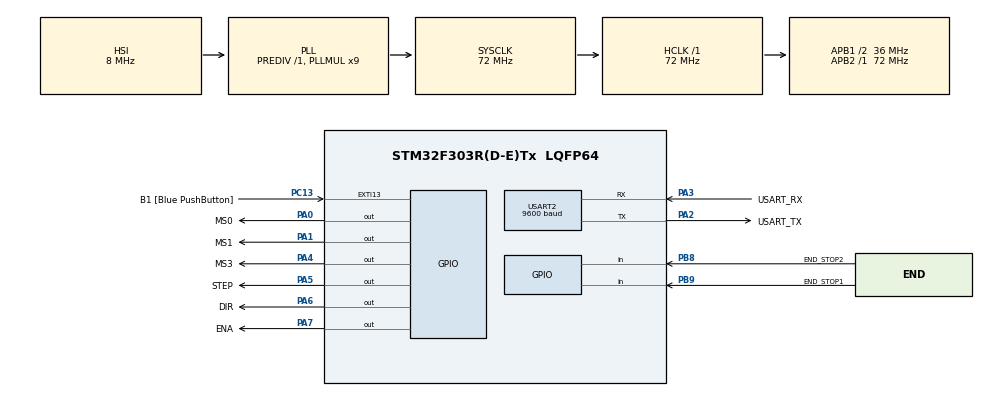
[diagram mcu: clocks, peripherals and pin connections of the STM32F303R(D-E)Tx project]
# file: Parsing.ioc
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Mcu.Family=STM32F3
Mcu.Name=STM32F303R(D-E)Tx
Mcu.Package=LQFP64
NVIC.PriorityGroup=NVIC_PRIORITYGROUP_0
NVIC.USART2_IRQn=true\:0\:0\:false\:false\:true\:true
PA0.GPIO_Label=MS0
PA0.Signal=GPIO_Output
PA1.GPIO_Label=MS1
PA1.Signal=GPIO_Output
PA13.GPIO_Label=TMS
PA13.Mode=Serial_Wire
PA13.Signal=SYS_JTMS-SWDIO
PA14.GPIO_Label=TCK
PA14.Mode=Serial_Wire
PA14.Signal=SYS_JTCK-SWCLK
PA2.GPIO_Label=USART_TX
PA2.GPIO_Mode=GPIO_MODE_AF_PP
PA2.GPIO_PuPd=GPIO_NOPULL
PA2.GPIO_Speed=GPIO_SPEED_FREQ_LOW
PA2.Mode=Asynchronous
PA2.Signal=USART2_TX
PA3.GPIO_Label=USART_RX
PA3.GPIO_Mode=GPIO_MODE_AF_PP
PA3.GPIO_PuPd=GPIO_NOPULL
PA3.GPIO_Speed=GPIO_SPEED_FREQ_LOW
PA3.Mode=Asynchronous
PA3.Signal=USART2_RX
PA4.GPIO_Label=MS3
PA4.Signal=GPIO_Output
PA5.GPIO_Label=STEP
PA5.GPIO_Mode=GPIO_MODE_OUTPUT_PP
PA5.GPIO_PuPd=GPIO_NOPULL
PA5.GPIO_Speed=GPIO_SPEED_FREQ_LOW
PA5.Signal=GPIO_Output
PA6.GPIO_Label=DIR
PA6.Signal=GPIO_Output
PA7.GPIO_Label=ENA
PA7.Signal=GPIO_Output
PB3.GPIO_Label=SWO
PB3.Signal=SYS_JTDO-TRACESWO
PB8.GPIO_Label=END_STOP2
PB8.Signal=GPIO_Input
PB9.GPIO_Label=END_STOP1
PB9.Signal=GPIO_Input
PC13.GPIO_Label=B1 [Blue PushButton]
PC13.GPIO_ModeDefaultEXTI=GPIO_MODE_IT_FALLING
PC13.Signal=GPXTI13
PC14-OSC32_IN.Mode=LSE-External-Oscillator
PC14-OSC32_IN.Signal=RCC_OSC32_IN
PC15-OSC32_OUT.Mode=LSE-External-Oscillator
PC15-OSC32_OUT.Signal=RCC_OSC32_OUT
PF0-OSC_IN.Mode=HSE-External-Clock-Source
PF0-OSC_IN.Signal=RCC_OSC_IN
PF1-OSC_OUT.Signal=RCC_OSC_OUT
ProjectManager.HeapSize=0x200
ProjectManager.StackSize=0x400
ProjectManager.TargetToolchain=MDK-ARM V5
RCC.AHBFreq_Value=72000000
RCC.APB1CLKDivider=RCC_HCLK_DIV2
RCC.APB1Freq_Value=36000000
RCC.APB1TimFreq_Value=72000000
RCC.APB2Freq_Value=72000000
RCC.APB2TimFreq_Value=72000000
RCC.CortexFreq_Value=72000000
RCC.HCLKFreq_Value=72000000
RCC.HSE_VALUE=8000000
RCC.HSI_VALUE=8000000
RCC.PLLM=8
RCC.PLLMUL=RCC_PLL_MUL9
RCC.PLLN=336
RCC.PLLP=RCC_PLLP_DIV4
RCC.PLLQ=7
RCC.RCC_PLLsource_Clock_Source_FROM_HSE=RCC_HSE_PREDIV_DIV2
RCC.SYSCLKFreq_VALUE=72000000
RCC.SYSCLKSourceVirtual=RCC_SYSCLKSOURCE_PLLCLK
RCC.USBFreq_Value=72000000
USART2.BaudRate=9600
USART2.VirtualMode-Asynchronous=VM_ASYNC
USART2.WordLength=WORDLENGTH_8B
board=NUCLEO-F303RE

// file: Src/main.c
/**
  ******************************************************************************
  * @file           : main.c
  * @brief          : Main program body
  ******************************************************************************
  ** This notice applies to any and all portions of this file
  * that are not between comment pairs USER CODE BEGIN and
  * USER CODE END. Other portions of this file, whether
  * inserted by the user or by software development tools
  * are owned by their respective copyright owners.
  *
  * COPYRIGHT(c) 2018 STMicroelectronics
  *
  * Redistribution and use in source and binary forms, with or without modification,
  * are permitted provided that the following conditions are met:
  *   1. Redistributions of source code must retain the above copyright notice,
  *      this list of conditions and the following disclaimer.
  *   2. Redistributions in binary form must reproduce the above copyright notice,
  *      this list of conditions and the following disclaimer in the documentation
  *      and/or other materials provided with the distribution.
  *   3. Neither the name of STMicroelectronics nor the names of its contributors
  *      may be used to endorse or promote products derived from this software
  *      without specific prior written permission.
  *
  * THIS SOFTWARE IS PROVIDED BY THE COPYRIGHT HOLDERS AND CONTRIBUTORS "AS IS"
  * AND ANY EXPRESS OR IMPLIED WARRANTIES, INCLUDING, BUT NOT LIMITED TO, THE
  * IMPLIED WARRANTIES OF MERCHANTABILITY AND FITNESS FOR A PARTICULAR PURPOSE ARE
  * DISCLAIMED. IN NO EVENT SHALL THE COPYRIGHT HOLDER OR CONTRIBUTORS BE LIABLE
  * FOR ANY DIRECT, INDIRECT, INCIDENTAL, SPECIAL, EXEMPLARY, OR CONSEQUENTIAL
  * DAMAGES (INCLUDING, BUT NOT LIMITED TO, PROCUREMENT OF SUBSTITUTE GOODS OR
  * SERVICES; LOSS OF USE, DATA, OR PROFITS; OR BUSINESS INTERRUPTION) HOWEVER
  * CAUSED AND ON ANY THEORY OF LIABILITY, WHETHER IN CONTRACT, STRICT LIABILITY,
  * OR TORT (INCLUDING NEGLIGENCE OR OTHERWISE) ARISING IN ANY WAY OUT OF THE USE
  * OF THIS SOFTWARE, EVEN IF ADVISED OF THE POSSIBILITY OF SUCH DAMAGE.
  *
  ******************************************************************************
  */
#include "main.h"
#include "stm32f3xx_hal.h"

/* USER CODE BEGIN Includes */
#include <stdbool.h>
#include <stdlib.h>
/* USER CODE END Includes */

UART_HandleTypeDef huart2;

/* USER CODE BEGIN PV */
/* Private variables ---------------------------------------------------------*/
uint8_t txBuffer[]="Buffer TEST\n\r";
uint8_t txBuffer2[]="\r\nCommand not recognized\r\n";
uint8_t rxBuffer[12];
char  aBuffer[12];
bool rx_flag=false;
bool calibration_flag=false;
const uint16_t thousandth_of_nanometer=32;
uint16_t nanometer=32000;
uint16_t tenth_of_nanometer=3200;
uint16_t hundredth_of_nanometer=320;
uint16_t MAX_WVL=999;
uint16_t MIN_WVL=100;
uint32_t current_position;
/* USER CODE END PV */

void SystemClock_Config(void);
static void MX_GPIO_Init(void);
static void MX_USART2_UART_Init(void);

/* USER CODE BEGIN PFP */
/* Private function prototypes -----------------------------------------------*/
char *ltoa(long N, char *str, int base);
void step(void);
bool buffer_analyze(bool flag,char buffer[10]);

/* USER CODE END PFP */

int main(void)
{

  /* MCU Configuration----------------------------------------------------------*/

  /* Reset of all peripherals, Initializes the Flash interface and the Systick. */
  HAL_Init();

  /* Configure the system clock */
  SystemClock_Config();

  /* Initialize all configured peripherals */
  MX_GPIO_Init();
  MX_USART2_UART_Init();
  /* USER CODE BEGIN 2 */
	HAL_UART_Transmit_IT(&huart2,(uint8_t *)txBuffer,sizeof(txBuffer));
	uint32_t testnum=999999;
	uint32_t testnum2;
  /* USER CODE END 2 */

  /* Infinite loop */
  while (1)
  {

  /* USER CODE BEGIN 3 */
		step();
    HAL_UART_Receive_IT(&huart2,rxBuffer,12);
		rx_flag=buffer_analyze(rx_flag,aBuffer);

  }
  /* USER CODE END 3 */

}

void SystemClock_Config(void)
{

  RCC_OscInitTypeDef RCC_OscInitStruct;
  RCC_ClkInitTypeDef RCC_ClkInitStruct;
  RCC_PeriphCLKInitTypeDef PeriphClkInit;

    /**Initializes the CPU, AHB and APB busses clocks
    */
  RCC_OscInitStruct.OscillatorType = RCC_OSCILLATORTYPE_HSI;
  RCC_OscInitStruct.HSIState = RCC_HSI_ON;
  RCC_OscInitStruct.HSICalibrationValue = 16;
  RCC_OscInitStruct.PLL.PLLState = RCC_PLL_ON;
  RCC_OscInitStruct.PLL.PLLSource = RCC_PLLSOURCE_HSI;
  RCC_OscInitStruct.PLL.PLLMUL = RCC_PLL_MUL9;
  RCC_OscInitStruct.PLL.PREDIV = RCC_PREDIV_DIV1;
  if (HAL_RCC_OscConfig(&RCC_OscInitStruct) != HAL_OK)
  {
    _Error_Handler(__FILE__, __LINE__);
  }

    /**Initializes the CPU, AHB and APB busses clocks
    */
  RCC_ClkInitStruct.ClockType = RCC_CLOCKTYPE_HCLK|RCC_CLOCKTYPE_SYSCLK
                              |RCC_CLOCKTYPE_PCLK1|RCC_CLOCKTYPE_PCLK2;
  RCC_ClkInitStruct.SYSCLKSource = RCC_SYSCLKSOURCE_PLLCLK;
  RCC_ClkInitStruct.AHBCLKDivider = RCC_SYSCLK_DIV1;
  RCC_ClkInitStruct.APB1CLKDivider = RCC_HCLK_DIV2;
  RCC_ClkInitStruct.APB2CLKDivider = RCC_HCLK_DIV1;

  if (HAL_RCC_ClockConfig(&RCC_ClkInitStruct, FLASH_LATENCY_2) != HAL_OK)
  {
    _Error_Handler(__FILE__, __LINE__);
  }

  PeriphClkInit.PeriphClockSelection = RCC_PERIPHCLK_USART2;
  PeriphClkInit.Usart2ClockSelection = RCC_USART2CLKSOURCE_PCLK1;
  if (HAL_RCCEx_PeriphCLKConfig(&PeriphClkInit) != HAL_OK)
  {
    _Error_Handler(__FILE__, __LINE__);
  }

    /**Configure the Systick interrupt time
    */
  HAL_SYSTICK_Config(HAL_RCC_GetHCLKFreq()/1000);

    /**Configure the Systick
    */
  HAL_SYSTICK_CLKSourceConfig(SYSTICK_CLKSOURCE_HCLK);

  /* SysTick_IRQn interrupt configuration */
  HAL_NVIC_SetPriority(SysTick_IRQn, 0, 0);
}

/* USART2 init function */
static void MX_USART2_UART_Init(void)
{

  huart2.Instance = USART2;
  huart2.Init.BaudRate = 9600;
  huart2.Init.WordLength = UART_WORDLENGTH_8B;
  huart2.Init.StopBits = UART_STOPBITS_1;
  huart2.Init.Parity = UART_PARITY_NONE;
  huart2.Init.Mode = UART_MODE_TX_RX;
  huart2.Init.HwFlowCtl = UART_HWCONTROL_NONE;
  huart2.Init.OverSampling = UART_OVERSAMPLING_16;
  huart2.Init.OneBitSampling = UART_ONE_BIT_SAMPLE_DISABLE;
  huart2.AdvancedInit.AdvFeatureInit = UART_ADVFEATURE_NO_INIT;
  if (HAL_UART_Init(&huart2) != HAL_OK)
  {
    _Error_Handler(__FILE__, __LINE__);
  }

}

/** Configure pins as
        * Analog
        * Input
        * Output
        * EVENT_OUT
        * EXTI
*/
static void MX_GPIO_Init(void)
{

  GPIO_InitTypeDef GPIO_InitStruct;

  /* GPIO Ports Clock Enable */
  __HAL_RCC_GPIOC_CLK_ENABLE();
  __HAL_RCC_GPIOF_CLK_ENABLE();
  __HAL_RCC_GPIOA_CLK_ENABLE();
  __HAL_RCC_GPIOB_CLK_ENABLE();

  /*Configure GPIO pin Output Level */
  HAL_GPIO_WritePin(GPIOA, MS0_Pin|MS1_Pin|MS3_Pin|STEP_Pin
                          |DIR_Pin|ENA_Pin, GPIO_PIN_RESET);

  /*Configure GPIO pin : B1_Pin */
  GPIO_InitStruct.Pin = B1_Pin;
  GPIO_InitStruct.Mode = GPIO_MODE_IT_FALLING;
  GPIO_InitStruct.Pull = GPIO_NOPULL;
  HAL_GPIO_Init(B1_GPIO_Port, &GPIO_InitStruct);

  /*Configure GPIO pins : MS0_Pin MS1_Pin MS3_Pin STEP_Pin
                           DIR_Pin ENA_Pin */
  GPIO_InitStruct.Pin = MS0_Pin|MS1_Pin|MS3_Pin|STEP_Pin
                          |DIR_Pin|ENA_Pin;
  GPIO_InitStruct.Mode = GPIO_MODE_OUTPUT_PP;
  GPIO_InitStruct.Pull = GPIO_NOPULL;
  GPIO_InitStruct.Speed = GPIO_SPEED_FREQ_LOW;
  HAL_GPIO_Init(GPIOA, &GPIO_InitStruct);

  /*Configure GPIO pins : END_STOP2_Pin END_STOP1_Pin */
  GPIO_InitStruct.Pin = END_STOP2_Pin|END_STOP1_Pin;
  GPIO_InitStruct.Mode = GPIO_MODE_INPUT;
  GPIO_InitStruct.Pull = GPIO_PULLUP ;
  HAL_GPIO_Init(GPIOB, &GPIO_InitStruct);

}

/* USER CODE BEGIN 4 */
//-----------STEP FUNCTION-------------------
void step(void){
	uint32_t i;
	HAL_GPIO_TogglePin(STEP_GPIO_Port,STEP_Pin);
	for(i=0;i<360;i++);

}

//
void GoToMinWVL(){
	uint32_t i;
	HAL_GPIO_WritePin(DIR_GPIO_Port,DIR_Pin,GPIO_PIN_SET);
	HAL_GPIO_WritePin(ENA_GPIO_Port,ENA_Pin,GPIO_PIN_RESET);
	while(HAL_GPIO_ReadPin(END_STOP1_GPIO_Port,END_STOP1_Pin)==1)
	{
		step();
	}
}
//-----------------------------
void GoToMaxWVL(){
	uint32_t i;
	HAL_GPIO_WritePin(DIR_GPIO_Port,DIR_Pin,GPIO_PIN_SET);
	HAL_GPIO_WritePin(ENA_GPIO_Port,ENA_Pin,GPIO_PIN_RESET);
	while(HAL_GPIO_ReadPin(END_STOP2_GPIO_Port,END_STOP2_Pin)==1){
		step();
			}
}

//-------------------------------------------
void autocalibration(void){
	uint32_t i;
	if(HAL_GPIO_ReadPin(END_STOP1_GPIO_Port,END_STOP1_Pin)==1  && HAL_GPIO_ReadPin(END_STOP2_GPIO_Port,END_STOP2_Pin)==1){
		GoToMinWVL();
		GoToMaxWVL();
		current_position=MAX_WVL*1000;
	}
	else if (HAL_GPIO_ReadPin(END_STOP1_GPIO_Port,END_STOP1_Pin)==1  && HAL_GPIO_ReadPin(END_STOP2_GPIO_Port,END_STOP2_Pin)==0)
	{

		GoToMinWVL();
		current_position=MIN_WVL*1000;
	}
	else if (HAL_GPIO_ReadPin(END_STOP1_GPIO_Port,END_STOP1_Pin)==0  && HAL_GPIO_ReadPin(END_STOP2_GPIO_Port,END_STOP2_Pin)==1)
	{
		GoToMaxWVL();
		current_position=MAX_WVL*1000;
	}
	else if (HAL_GPIO_ReadPin(END_STOP1_GPIO_Port,END_STOP1_Pin)==0  && HAL_GPIO_ReadPin(END_STOP2_GPIO_Port,END_STOP2_Pin)==0)
	{
		HAL_UART_Transmit(&huart2,"\r\nError: END STOP FAILURE\r\n",sizeof("\r\nError: END STOP FAILURE\r\n"),100);
	}

}
//-----------------------------------

//-----------------------------------
void steps(uint32_t no_of_steps, bool dir){
	char sbuffer[12];
	sprintf(sbuffer,"%d",no_of_steps);
	HAL_Delay(500);
	HAL_UART_Transmit(&huart2,(uint8_t *)sbuffer,sizeof(sbuffer),100);
	HAL_GPIO_WritePin(ENA_GPIO_Port,ENA_Pin,GPIO_PIN_RESET);
	if(dir==true){
		HAL_GPIO_WritePin(DIR_GPIO_Port,DIR_Pin,GPIO_PIN_RESET);
		while(no_of_steps!=0)
		{
			step();
			no_of_steps--;
		}
	}
	else if(dir==false){
		HAL_GPIO_WritePin(DIR_GPIO_Port,DIR_Pin,GPIO_PIN_SET);
		while(no_of_steps!=0)
		{
			step();
			no_of_steps--;
		}
	}
	HAL_GPIO_WritePin(ENA_GPIO_Port,ENA_Pin,GPIO_PIN_SET);

}
//-------------------------------------------
void go_to_wavelength(uint32_t go_to_position)
	{
	int32_t position_diference;
	position_diference=go_to_position-current_position;
	if(position_diference > 0)
	{
		steps(position_diference*thousandth_of_nanometer,true);
		current_position=go_to_position;
	}
	else if(position_diference < 0)
	{
		steps((current_position-go_to_position)*thousandth_of_nanometer,false);
		current_position=go_to_position;
	}
	else if(position_diference==0);
}

//----------------------set position--------------------
void set_position(uint32_t wavelength){
	char sbuffer[12];
	current_position=wavelength;
	sprintf(sbuffer,"%d",current_position);
	HAL_Delay(500);
	HAL_UART_Transmit(&huart2,(uint8_t *)sbuffer,sizeof(sbuffer),100);
}
//----------------------GO_UP--------------------------
void go_up(uint32_t position_modifier){
	steps(position_modifier*thousandth_of_nanometer,true);
}

//---------------------Go_DOWN-------------------------
void go_down(uint32_t position_modifier){
	steps(position_modifier*thousandth_of_nanometer,true);
}

//-------------------GET Position----------------------
void get_current_position(void){
	unsigned char sbuffer[12];
	sprintf(sbuffer,"%d",current_position);

	HAL_UART_Transmit(&huart2,(uint8_t *)sbuffer,sizeof(sbuffer),1000);
}
//------------------Buffer analyze---------------------
bool buffer_analyze(bool flag,char buffer[12]){
	uint8_t i;
	uint32_t end_of_packet_numeric;
	char  cmd[5];
	char  nm_1[3];
	char end_of_packet[6];
	char c[2]="pe";
	char sbuffer[6];
	if(flag==true)
	{
		if(strcmp(buffer[0],'x')==0)
		{
			for(i=1;i<=5;i++)
			{
				cmd[i-1]=buffer[i];
			}
			for(i=0;i<6;i++)
			{
				end_of_packet[i]=buffer[i+6];
			}
			end_of_packet_numeric=atol(end_of_packet);
			HAL_UART_Transmit(&huart2,cmd, sizeof(cmd),1000);

			if(strncmp(cmd,"st_ps",5)==0)set_position(end_of_packet_numeric);
			else if(strncmp(cmd,"aucal",5)==0) autocalibration();
			else if(strncmp(cmd,"getpo",5)==0)get_current_position();
			else if(strncmp(cmd,"go_up",5)==0)go_up(atol(end_of_packet));
			else if(strncmp(cmd,"go_dw",5)==0)go_down(atol(end_of_packet));
			else if(strncmp(cmd,"go_to",5)==0)go_to_wavelength(end_of_packet_numeric);
			else{
				HAL_UART_Transmit(&huart2,(uint8_t *)txBuffer2,sizeof(txBuffer2),100);
			}
		}
		else HAL_UART_Transmit_IT(&huart2,"\r\nError: Transmision error\r\n",28);
	return false;
	}
}

/**
  * @brief Rx Transfer completed callbacks
  * @param huart: uart handle
  * @retval None
  */
void HAL_UART_RxCpltCallback(UART_HandleTypeDef *huart)
{
  /* Prevent unused argument(s) compilation warning */
  UNUSED(huart);
	memcpy(aBuffer,rxBuffer,sizeof(rxBuffer));
	rx_flag=true;
    HAL_UART_Transmit(&huart2, (uint8_t *)rxBuffer, sizeof(rxBuffer),0xFFFF);
}
/* USER CODE END 4 */

void _Error_Handler(char *file, int line)
{
  while(1)
  {
  }
}

/************************ (C) COPYRIGHT STMicroelectronics *****END OF FILE****/
